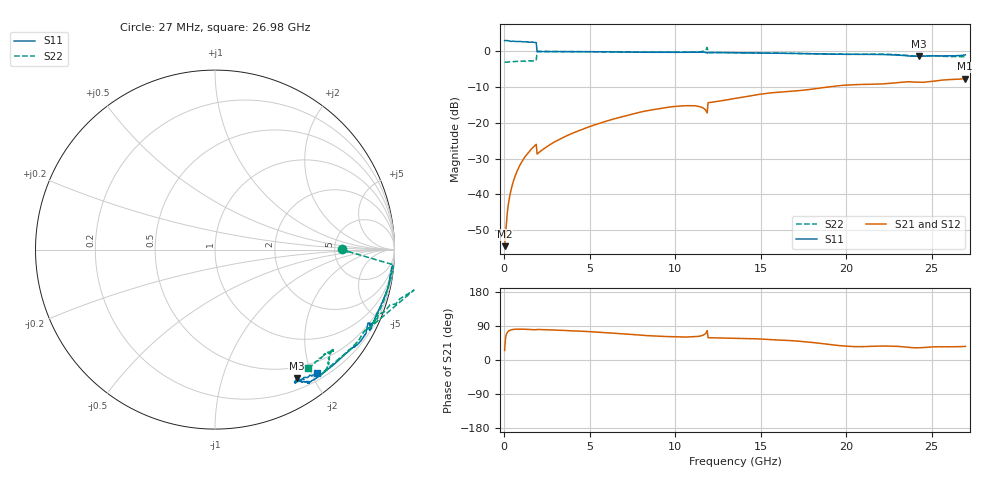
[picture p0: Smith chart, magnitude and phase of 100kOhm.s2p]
#  HZ  S  MA  R  50.00
! Rohde & Schwarz ZVA67 4Ports - Version 4.11 - 1305.7002k04 SN: 101051
! Date: 2023-05-24 10:58:45
! Measurements: S11 S21 S12 S22
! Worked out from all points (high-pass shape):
!   540 points, 27 MHz to 26.98 GHz, reference 50 ohm
!   highest |S21| = -7.65 dB at 26.93 GHz (marker M1); lowest = -54.5 dB at 27 MHz (marker M2)
!   |S21| within 3 dB of the highest: 17.88 GHz to end of sweep
!   lowest |S11| = -1.4 dB at 24.28 GHz (marker M3), VSWR 12.33, Z = 17.1 - j88.5 ohm
!   |S11| at or under -10 dB: nowhere
!   |S22| runs from -3.1 to 1.1 dB; largest |S21 - S12| = 0.04
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2.7e7  1.409 -1.2  0.001893 25.5  0.001666 26.9  0.7063 0.3
2.27e8  1.412 -1.8  0.006817 75.1  0.006756 75.2  0.7055 0.0
4.27e8  1.377 -3.2  0.01221 79.6  0.01219 79.6  0.7202 -0.2
7.27e8  1.367 -5.1  0.02032 81.3  0.02029 81.0  0.7259 -0.5
1.177e9  1.354 -8.2  0.03237 81.2  0.03226 80.7  0.7316 -0.6
1.777e9  1.327 -12.0  0.04763 80.0  0.04749 79.5  0.7421 -0.8
2.027e9  0.9926 -5.4  0.03844 80.6  0.03831 80.1  0.9944 -4.9
4.527e9  0.988 -10.5  0.08044 76.0  0.08022 74.9  0.9899 -10.6
9.027e9  0.9707 -23.6  0.1573 62.9  0.1569 61.0  0.9726 -23.0
1.1177e10  0.9712 -27.6  0.1732 61.6  0.1726 59.2  0.9775 -23.5
1.1577e10  0.9733 -26.9  0.1641 64.7  0.1635 62.2  0.9954 -20.6
1.1777e10  0.9571 -26.0  0.1518 69.7  0.1511 67.2  1.052 -16.7
1.2027e10  0.9621 -29.3  0.1927 58.7  0.1922 55.8  0.9628 -27.0
1.3527e10  0.956 -32.9  0.22 57.2  0.2188 54.6  0.957 -27.5
1.6627e10  0.9382 -36.2  0.2737 51.5  0.2732 48.1  0.9383 -35.2
1.8027e10  0.9222 -42.8  0.2965 46.2  0.2962 42.5  0.9249 -39.5
2.0527e10  0.909 -54.9  0.3422 35.3  0.3418 31.1  0.9106 -50.8
2.2527e10  0.8969 -55.2  0.3554 36.9  0.3546 31.8  0.9072 -46.5
2.4277e10  0.8499 -57.6  0.3695 32.2  0.3675 27.3  0.8636 -41.0
2.6227e10  0.8663 -57.6  0.4039 35.0  0.4023 29.5  0.8418 -44.3
2.6927e10  0.8863 -52.2  0.4146 35.6  0.4124 30.0  0.8423 -50.6
2.6977e10  0.893 -50.6  0.4134 35.9  0.4112 30.3  0.8377 -51.8
